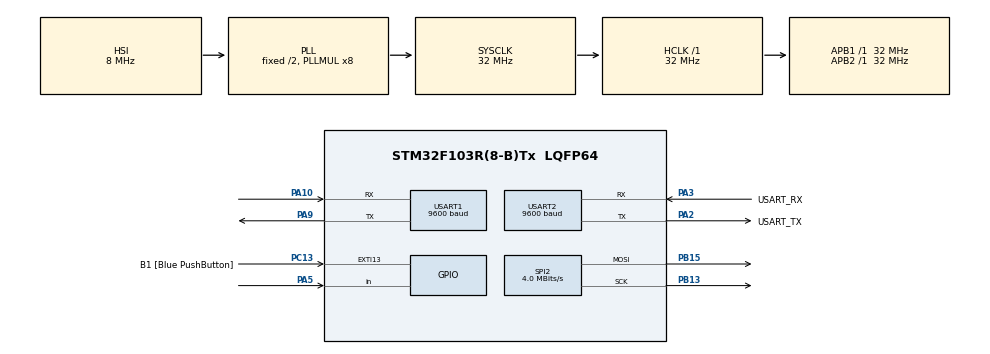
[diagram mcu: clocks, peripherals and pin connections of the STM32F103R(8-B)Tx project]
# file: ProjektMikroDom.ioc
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Dma.Request0=USART1_RX
Dma.Request1=USART1_TX
Dma.USART1_RX.0.Direction=DMA_PERIPH_TO_MEMORY
Dma.USART1_RX.0.Instance=DMA1_Channel5
Dma.USART1_RX.0.MemDataAlignment=DMA_MDATAALIGN_BYTE
Dma.USART1_RX.0.MemInc=DMA_MINC_ENABLE
Dma.USART1_RX.0.Mode=DMA_NORMAL
Dma.USART1_RX.0.PeriphDataAlignment=DMA_PDATAALIGN_BYTE
Dma.USART1_RX.0.PeriphInc=DMA_PINC_DISABLE
Dma.USART1_RX.0.Priority=DMA_PRIORITY_LOW
Dma.USART1_TX.1.Direction=DMA_MEMORY_TO_PERIPH
Dma.USART1_TX.1.Instance=DMA1_Channel4
Dma.USART1_TX.1.MemDataAlignment=DMA_MDATAALIGN_BYTE
Dma.USART1_TX.1.MemInc=DMA_MINC_ENABLE
Dma.USART1_TX.1.Mode=DMA_NORMAL
Dma.USART1_TX.1.PeriphDataAlignment=DMA_PDATAALIGN_BYTE
Dma.USART1_TX.1.PeriphInc=DMA_PINC_DISABLE
Dma.USART1_TX.1.Priority=DMA_PRIORITY_LOW
Mcu.Family=STM32F1
Mcu.Name=STM32F103R(8-B)Tx
Mcu.Package=LQFP64
NVIC.DMA1_Channel4_IRQn=true\:0\:0\:false\:false\:true\:false
NVIC.DMA1_Channel5_IRQn=true\:0\:0\:false\:false\:true\:false
NVIC.EXTI15_10_IRQn=true\:0\:0\:false\:false\:true\:true
NVIC.PriorityGroup=NVIC_PRIORITYGROUP_4
NVIC.TIM4_IRQn=true\:0\:0\:false\:false\:true\:true
NVIC.USART1_IRQn=true\:0\:0\:false\:false\:true\:true
NVIC.USART2_IRQn=true\:0\:0\:false\:false\:true\:true
PA10.Mode=Asynchronous
PA10.Signal=USART1_RX
PA13.GPIO_Label=TMS
PA13.Mode=Serial_Wire
PA13.Signal=SYS_JTMS-SWDIO
PA14.GPIO_Label=TCK
PA14.Mode=Serial_Wire
PA14.Signal=SYS_JTCK-SWCLK
PA2.GPIO_Label=USART_TX
PA2.GPIO_Mode=GPIO_MODE_AF_PP
PA2.GPIO_PuPd=GPIO_NOPULL
PA2.GPIO_Speed=GPIO_SPEED_FREQ_LOW
PA2.Mode=Asynchronous
PA2.Signal=USART2_TX
PA3.GPIO_Label=USART_RX
PA3.GPIO_Mode=GPIO_MODE_AF_PP
PA3.GPIO_PuPd=GPIO_NOPULL
PA3.GPIO_Speed=GPIO_SPEED_FREQ_LOW
PA3.Mode=Asynchronous
PA3.Signal=USART2_RX
PA5.Signal=GPIO_Input
PA9.Mode=Asynchronous
PA9.Signal=USART1_TX
PB13.Mode=TX_Only_Simplex_Unidirect_Master
PB13.Signal=SPI2_SCK
PB15.Mode=TX_Only_Simplex_Unidirect_Master
PB15.Signal=SPI2_MOSI
PB3.GPIO_Label=SWO
PB3.Signal=SYS_JTDO-TRACESWO
PC13-TAMPER-RTC.GPIO_Label=B1 [Blue PushButton]
PC13-TAMPER-RTC.GPIO_PuPd=GPIO_NOPULL
PC13-TAMPER-RTC.Signal=GPXTI13
PC14-OSC32_IN.Mode=LSE-External-Oscillator
PC14-OSC32_IN.Signal=RCC_OSC32_IN
PC15-OSC32_OUT.Mode=LSE-External-Oscillator
PC15-OSC32_OUT.Signal=RCC_OSC32_OUT
PD0-OSC_IN.Mode=HSE-External-Clock-Source
PD0-OSC_IN.Signal=RCC_OSC_IN
PD1-OSC_OUT.Mode=HSE-External-Clock-Source
PD1-OSC_OUT.Signal=RCC_OSC_OUT
ProjectManager.HeapSize=0x200
ProjectManager.StackSize=0x400
ProjectManager.TargetToolchain=SW4STM32
RCC.AHBFreq_Value=32000000
RCC.APB1Freq_Value=32000000
RCC.APB1TimFreq_Value=32000000
RCC.APB2Freq_Value=32000000
RCC.APB2TimFreq_Value=32000000
RCC.HCLKFreq_Value=32000000
RCC.PLLMUL=RCC_PLL_MUL8
RCC.RTCClockSelection=RCC_RTCCLKSOURCE_LSE
RCC.SYSCLKFreq_VALUE=32000000
RCC.SYSCLKSource=RCC_SYSCLKSOURCE_PLLCLK
RCC.USBFreq_Value=32000000
SPI2.BaudRatePrescaler=SPI_BAUDRATEPRESCALER_8
SPI2.CalculateBaudRate=4.0 MBits/s
SPI2.DataSize=SPI_DATASIZE_16BIT
SPI2.Direction=SPI_DIRECTION_2LINES
SPI2.Mode=SPI_MODE_MASTER
SPI2.VirtualType=VM_MASTER
TIM4.AutoReloadPreload=TIM_AUTORELOAD_PRELOAD_DISABLE
TIM4.Period=103
TIM4.Prescaler=31
USART1.BaudRate=9600
USART1.VirtualMode=VM_ASYNC
USART2.BaudRate=9600
USART2.VirtualMode=VM_ASYNC
VP_TIM4_VS_ClockSourceINT.Mode=Internal
board=NUCLEO-F103RB

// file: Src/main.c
/**
  ******************************************************************************
  * @file           : main.c
  * @brief          : Main program body
  ******************************************************************************
  ** This notice applies to any and all portions of this file
  * that are not between comment pairs USER CODE BEGIN and
  * USER CODE END. Other portions of this file, whether
  * inserted by the user or by software development tools
  * are owned by their respective copyright owners.
  *
  * COPYRIGHT(c) 2019 STMicroelectronics
  *
  * Redistribution and use in source and binary forms, with or without modification,
  * are permitted provided that the following conditions are met:
  *   1. Redistributions of source code must retain the above copyright notice,
  *      this list of conditions and the following disclaimer.
  *   2. Redistributions in binary form must reproduce the above copyright notice,
  *      this list of conditions and the following disclaimer in the documentation
  *      and/or other materials provided with the distribution.
  *   3. Neither the name of STMicroelectronics nor the names of its contributors
  *      may be used to endorse or promote products derived from this software
  *      without specific prior written permission.
  *
  * THIS SOFTWARE IS PROVIDED BY THE COPYRIGHT HOLDERS AND CONTRIBUTORS "AS IS"
  * AND ANY EXPRESS OR IMPLIED WARRANTIES, INCLUDING, BUT NOT LIMITED TO, THE
  * IMPLIED WARRANTIES OF MERCHANTABILITY AND FITNESS FOR A PARTICULAR PURPOSE ARE
  * DISCLAIMED. IN NO EVENT SHALL THE COPYRIGHT HOLDER OR CONTRIBUTORS BE LIABLE
  * FOR ANY DIRECT, INDIRECT, INCIDENTAL, SPECIAL, EXEMPLARY, OR CONSEQUENTIAL
  * DAMAGES (INCLUDING, BUT NOT LIMITED TO, PROCUREMENT OF SUBSTITUTE GOODS OR
  * SERVICES; LOSS OF USE, DATA, OR PROFITS; OR BUSINESS INTERRUPTION) HOWEVER
  * CAUSED AND ON ANY THEORY OF LIABILITY, WHETHER IN CONTRACT, STRICT LIABILITY,
  * OR TORT (INCLUDING NEGLIGENCE OR OTHERWISE) ARISING IN ANY WAY OUT OF THE USE
  * OF THIS SOFTWARE, EVEN IF ADVISED OF THE POSSIBILITY OF SUCH DAMAGE.
  *
  ******************************************************************************
  */
#include "main.h"
#include "stm32f1xx_hal.h"

/* USER CODE BEGIN Includes */
#include 								"string.h"
#include 								"stdarg.h"
#include 								"ws2812b.h"
#include 								"stdlib.h"
#include 								"ds18b20uart.h"
#define BUFF_SIZE 						256
#define MAX_PARAMETERS					5
#define COMMAND_SIZE					128
#define END             				0x2F			//Znak poczatku/konca ramki
#define ESC             				0x3C
#define ESC_END							0x3D
#define ESC_ESC							0x3E
#define WAIT_START						0
#define ESCAPE							1
#define AFTER_ESCAPE					3
#define MESSAGE							4
#define FRAME_RECEIVED					5
#define FLASH_TEMPERATURE_START			0x08018000
#define FLASH_START						0x08000000
/* USER CODE END Includes */

SPI_HandleTypeDef hspi2;

TIM_HandleTypeDef htim4;

UART_HandleTypeDef huart1;
UART_HandleTypeDef huart2;
DMA_HandleTypeDef hdma_usart1_rx;
DMA_HandleTypeDef hdma_usart1_tx;

/* USER CODE BEGIN PV */
char Buff_Rx[BUFF_SIZE];
char Buff_Tx[BUFF_SIZE];

volatile uint8_t Busy_Tx = 0;
volatile uint8_t Empty_Tx = 0;
volatile uint8_t Busy_Rx = 0;
volatile uint8_t Empty_Rx = 0;

uint32_t parameters[MAX_PARAMETERS];
uint8_t all_parameters = 1;
char command[COMMAND_SIZE];
uint8_t bajty_idle = 0;
uint8_t frame_state = WAIT_START;
int idx;

uint8_t crc_frame;
uint8_t frame_length;

extern uint32_t ds18b20_fix;
extern uint32_t ds18b20_fix_enable;
extern uint32_t ds18b20_fix_count;
extern uint8_t ds18b20_state;
extern rgb led_color[16];
extern uint8_t blink[16];
extern uint32_t lighton[16];
extern uint32_t lightoff[16];
extern uint32_t blink_count[16];

uint32_t flash_temperature_write;
uint32_t flash_temperature_read;
uint32_t flash_temperature_lastwrited;
uint32_t flash_temperature_idx = 1;

uint8_t temperature_mode = 0;
uint8_t temperature_mode_before = 0;
uint8_t temperature_mode_now = 0;
uint16_t temperature_mode_counter = 0;
char get_temp_sign;

struct Colors off = { .red = 0, .green = 0, .blue = 0 };
struct Colors hot = { .red = 0, .green = 255, .blue = 0};
struct Colors cold = { .red = 0, .green = 0, .blue = 255};
struct Colors owncolor = { .red = 0, .green = 0, .blue = 0};

FLASH_EraseInitTypeDef EraseInitStruct;
uint32_t ErrorTemperatureFlash;

/* Private variables ---------------------------------------------------------*/

/* USER CODE END PV */

void SystemClock_Config(void);
static void MX_GPIO_Init(void);
static void MX_DMA_Init(void);
static void MX_USART2_UART_Init(void);
static void MX_TIM4_Init(void);
static void MX_SPI2_Init(void);
static void MX_USART1_UART_Init(void);

/* USER CODE BEGIN PFP */
/* Private function prototypes -----------------------------------------------*/

/* USER CODE END PFP */

/* USER CODE BEGIN 0 */
void USART_fsend(char* format, ...) {

	char tmp_rs[128];//zmiena tymczasowa tmp_rs
	int i;
	__IO int idx;// __IO = volatile, indeks naszej tablicy
	va_list valist; //tworzymy liste ze zmienna iloscia argumentu
	va_start(valist, format);//inicjalizuje valist, aby pobrać dodatkowe argumenty po parametrze
	vsprintf(tmp_rs, format, valist);//do zmiennej tmp_rs jest zapisywany sformatowany już ciąg znaków
	va_end(valist); // zakonczenie listy ze zmienna iloscia argumentow
	idx = Empty_Tx; //naszemu indeksowi przypisujemy wskaznik na puste miejsce w buforze nadawczym
	for (i = 0; i < strlen(tmp_rs); i++) {//wypelniamy bufor nadawczy znakami
		Buff_Tx[idx] = tmp_rs[i];
		idx++;
		if (idx >= BUFF_SIZE)//jezeli przekroczymy rozmiar to zerujemy index
			idx = 0;
	}
	__disable_irq(); //wylaczamy przerwania
	if ((Empty_Tx == Busy_Tx)//jezeli wskazniki na puste i zajete miejsce w buforze sa takie same
			&& (__HAL_UART_GET_FLAG(&huart2,UART_FLAG_TXE) == SET)) {//oraz UART nic nie nadaje
		//to rozpoczynamy wysylanie
		Empty_Tx = idx;//przypisujemy wskazniki pustego miejsca nasz indeks
		uint8_t tmp = Buff_Tx[Busy_Tx];//zmiennej tymczasowej przypisujemy element z bufora nadawczego
		Busy_Tx++;//zwiekszamy wskaznik miejsca zajetego w buforze
		if (Busy_Tx >= BUFF_SIZE)//jezeli przekroczymy zakres bufora to zerujemy wskaznik
			Busy_Tx = 0;
		HAL_UART_Transmit_IT(&huart2, &tmp, 1);//transmitujemy pierwszy bajt danych
		//po przeslaniu tego bajtu zostanie wywołane przerwanie z
		//callbacku

	} else {// w przeciwnym wypadku
		Empty_Tx = idx; //wskaznikowi pustego miejsca przypisujemy nasz indeks
	}
	__enable_irq(); // wlaczamy przerwania
}
void analyze_frame(char *jmd)//analiza odebranej ramki
{
	frame_length = strlen(jmd);
	if(frame_length > 0)
	{
		crc_frame = CRC8(jmd,frame_length-1);
		crc_frame=jmd[frame_length-1];
		if(jmd[1] == 'B')
		{
			if(jmd[frame_length-1] == crc_frame)
			{
				if(strncmp(jmd+2,"setled",6) == 0)
				{
					all_parameters = sscanf(jmd+2,"setled:%d:%d:%d:%d",&parameters[0],&parameters[1],&parameters[2],&parameters[3]);
					if(all_parameters == 4)
					{
						if((parameters[0] <= 15 && parameters[0] >= 0) || parameters[0] == -1)
						{
							if(parameters[1] >= 0 && parameters[1] <= 255)
							{
								if(parameters[2] >= 0 && parameters[2] <= 255)
								{
									if(parameters[3] >= 0 && parameters[3] <= 255)
									{
										DisableWS2812BThermometerMode();
										owncolor.red = parameters[1];
										owncolor.green = parameters[2];
										owncolor.blue = parameters[3];
										if(parameters[0] == -1) SetAllLEDColor_RGB(owncolor,1);
										else SetLEDColor_RGB(parameters[0],owncolor,1);
										WS2812B_Update();
										SendFrame("SETLED OK");
									}
									else SendFrame("SETLED PARAM 4 FAIL");
								}
								else SendFrame("SETLED PARAM 3 FAIL");
							}
							else SendFrame("SETLED PARAM 2 FAIL");
						}
						else SendFrame("SETLED PARAM 1 FAIL");
					}
					else SendFrame("SETLED PARAMS FAIL");
				}
				else if(strncmp(jmd+2,"readtempflash",13) == 0)
				{
					ReadTemperatureFromFlash();
				}
				else if(strncmp(jmd+2,"readtemp",8) == 0)
				{
					if(ds18b20_fix_enable != 0) ds18b20_fix_enable = 0;
					DisableWS2812BThermometerMode();
					SendFrame("READTEMP OK");
					ReadTemp();
				}
				else if(strncmp(jmd+2,"fixtempoff",10) == 0)
				{
					DisableWS2812BThermometerMode();
					SendFrame("FIXTEMPOFF OK");
					ds18b20_fix_enable = 0;
					ds18b20_state = 0;
				}
				else if(strncmp(jmd+2,"fixtemp",7) == 0)
				{
					all_parameters = sscanf(jmd+2,"fixtemp:%d",&parameters[0]);
					if(all_parameters == 1)
					{
						if(parameters[0] >= 1000)
						{
							DisableWS2812BThermometerMode();
							ds18b20_fix_enable = 1;
							ds18b20_fix_count = 0;
							ds18b20_fix = parameters[0];
							SendFrame("FIXTEMP OK");
						}
						else SendFrame("FIXTEMP PARAM 1 FAIL");
					}
					else SendFrame("FIXTEMP PARAMS FAIL");
				}
				else if(strncmp(jmd+2,"blinkoff",8) == 0)
				{
					all_parameters = sscanf(jmd+2,"blinkoff:%d",&parameters[0]);
					if(all_parameters == 1)
					{
						if((parameters[0] >= 0 && parameters[0] <= 15) || parameters[0] == -1)
						{
							DisableWS2812BThermometerMode();
							if(parameters[0] == -1)
							{
								for(uint16_t i = 0; i < NUMBER_OF_LEDS; i++)
								{
									blink[i] = 0;
									blink_count[i] = 0;
									lighton[i] = 0;
									lightoff[i] = 0;
									SetLEDColor_RGB(i,off,1);
								}
							}
							else
							{
								blink[parameters[0]] = 0;
								blink_count[parameters[0]] = 0;
								lighton[parameters[0]] = 0;
								lightoff[parameters[0]] = 0;
								SetLEDColor_RGB(parameters[0],off,1);
							}
							WS2812B_Update();
							SendFrame("BLINKOFF OK");
						}
						else SendFrame("BLINKOFF PARAM 1 FAIL");
					}
					else SendFrame("BLINKOFF PARAMS FAIL");
				}
				else if(strncmp(jmd+2,"blink",5) == 0)
				{
					all_parameters = sscanf(jmd+2,"blink:%d:%d:%d",&parameters[0],&parameters[1],&parameters[2]);
					if(all_parameters == 3)
					{
						if(parameters[0] <= 15 && parameters[0] >= 0)
						{
							if(parameters[1] >= 10)
							{
								if(parameters[2] >= 10)
								{
									DisableWS2812BThermometerMode();
									SendFrame("BLINK OK");
									blink[parameters[0]] = 1;
									blink_count[parameters[0]] = 0;
									lighton[parameters[0]] = parameters[1];
									lightoff[parameters[0]] = parameters[2];
								}
							}
							else SendFrame("BLINK PARAM 2 FAIL");
						}
						else SendFrame("BLINK PARAM 1 FAIL");
					}
					else SendFrame("BLINK PARAMS FAIL");
				}
				else if(strncmp(jmd+2,"tmodeoff",8) == 0)
				{
					DisableWS2812BThermometerMode();
					SendFrame("TMODEOFF OK");
				}
				else if(strncmp(jmd+2,"tmode",5) == 0)
				{
					temperature_mode = 1;
					temperature_mode_counter = 0;
					SendFrame("TMODE OK");
				}
				else SendFrame("WRONG COMMAND");
			}
			else
			{
				SendFrame("WRONG CHECKSUM");
			}
		}
		else
		{
			SendFrame("WRONG ADDRESS");
		}
	}
	else SendFrame("EMPTY FRAME");
}
char getchar_BuffRx()//pobieranie kolejnego znaku z bufora RX
{
	char tmp;
	if(Busy_Rx != Empty_Rx)
	{
		tmp = Buff_Rx[Busy_Rx];
		Busy_Rx++;
		if(Busy_Rx > BUFF_SIZE) Busy_Rx = 0;
		return tmp;
	}
	return -1;
}
void clear_data()
{
	for(int i = 0; i < COMMAND_SIZE; i++) command[i] = 0;
	idx = 0;
}
void search_frame()
{
	if(Busy_Rx != Empty_Rx)
	{
		static char c;
		c = getchar_BuffRx();
		__HAL_TIM_SET_COUNTER(&htim4,0);
		switch(frame_state)
		{
			case WAIT_START:
			{
				if(c == END)
				{
					clear_data();
					frame_state = MESSAGE;
				}
				break;
			}
			case MESSAGE:
			{
				if(c == END)
				{
					analyze_frame(command);
					clear_data();
					frame_state = MESSAGE;
				}
				else if(c == ESC) frame_state = AFTER_ESCAPE;
				else
				{
					command[idx] = c;
					idx++;
				}
				break;
			}
			case AFTER_ESCAPE:
			{
				if(c == ESC_END)
				{
					command[idx] = END;
					idx++;
				}
				else if(c == ESC_ESC)
				{
					command[idx] = ESC;
					idx++;
				}
				frame_state = MESSAGE;
				break;
			}
		}
	}
}
void AddCharToFrame(char *frame,uint8_t pos, char x)
{
	if(pos < COMMAND_SIZE)
	{
		frame[pos] = x;
	}
}
void SendFrame(char *format, ...)
{
	char data[COMMAND_SIZE];
	va_list valist;
	va_start(valist, format);
	vsprintf(data, format, valist);
	va_end(valist);
	char frame_to_send[COMMAND_SIZE] = {0};
	AddCharToFrame(frame_to_send,0,'B');
	AddCharToFrame(frame_to_send,1,'A');
	for(int i = 0; data[i] != '\0';i++)
	{
		switch(data[i])
		{
			case ESC:
			{
				AddCharToFrame(frame_to_send,i+2,ESC);
				AddCharToFrame(frame_to_send,i+3,ESC_ESC);
				break;
			}
			case END:
			{
				AddCharToFrame(frame_to_send,i+2,ESC);
				AddCharToFrame(frame_to_send,i+3,ESC_END);
				break;
			}
			default:
			{
				AddCharToFrame(frame_to_send,i+2,data[i]);
				break;
			}
		}
	}
	uint8_t crc_for_frame = CRC8(frame_to_send,strlen(frame_to_send));
	AddCharToFrame(frame_to_send,strlen(frame_to_send),crc_for_frame);
	USART_fsend("%s",frame_to_send);
}
uint8_t NumberPage(uint32_t adres)
{
	uint32_t numer = adres - 0x08000000;
	numer /= 1024;
	return numer;
}

void SearchHighestFlashIdx(uint32_t *max_idx, uint32_t *write_address)
{
	uint32_t current_address_idx;
	*max_idx = 0;
	*write_address = FLASH_TEMPERATURE_START-8;
	for(uint32_t address = FLASH_TEMPERATURE_START;address < 0x08020000; address += 8)
	{
		current_address_idx = *(__IO uint32_t *)address;

		if(current_address_idx != 0xFFFFFFFF && current_address_idx > *max_idx)
		{
				*max_idx = current_address_idx;
				*write_address = address;
		}
	}
	*max_idx += 1;
	*write_address += 8;
}
void WriteTemperatureToFlash(uint16_t calkowita, uint16_t ulamkowa)
{
	EraseInitStruct.TypeErase = FLASH_TYPEERASE_PAGES;
	EraseInitStruct.NbPages = 1;
	HAL_FLASH_Unlock();
	if(flash_temperature_write == 0x08020000) flash_temperature_write = FLASH_TEMPERATURE_START;
	if((flash_temperature_write - FLASH_START) % 1024 == 0)
	{
		uint8_t nbpage_write = NumberPage(flash_temperature_write);
		uint8_t nbpage_read = NumberPage(flash_temperature_read);
		if(nbpage_write == nbpage_read && flash_temperature_lastwrited < flash_temperature_read) flash_temperature_read = 0x08000000 + ((nbpage_read+1) * 1024);
		EraseInitStruct.PageAddress = flash_temperature_write;
		HAL_FLASHEx_Erase(&EraseInitStruct, &ErrorTemperatureFlash);
	}
	HAL_FLASH_Program(FLASH_TYPEPROGRAM_WORD,flash_temperature_write,flash_temperature_idx);
	flash_temperature_write += 4;
	HAL_FLASH_Program(FLASH_TYPEPROGRAM_HALFWORD,flash_temperature_write,calkowita);
	flash_temperature_write += 2;
	HAL_FLASH_Program(FLASH_TYPEPROGRAM_HALFWORD,flash_temperature_write,ulamkowa);
	flash_temperature_lastwrited = flash_temperature_write;
	flash_temperature_write += 2;
	HAL_FLASH_Lock();
	flash_temperature_idx++;
}
void ReadTemperatureFromFlash()
{
	if(flash_temperature_read != flash_temperature_write)
	{
		if(flash_temperature_read == 0x08020000) flash_temperature_read = FLASH_TEMPERATURE_START;
		flash_temperature_read += 4;
		uint16_t calkowita = *(__IO uint16_t *)flash_temperature_read;
		flash_temperature_read += 2;
		uint16_t ulamkowa = *(__IO uint16_t *)flash_temperature_read;
		flash_temperature_read += 2;
		get_temp_sign = calkowita & 0x80?'-':'+';
		calkowita = calkowita & 0x7F;
		SendFrame("TEMP %c%d.%d",get_temp_sign,calkowita,ulamkowa);
	}
	else
	{
		SendFrame("NO DATA");
	}
}

void WS2812BThermometerMode()
{
	if(temperature_mode == 2)
	{
		SetAllLEDColor_RGB(off,1);
		get_temp_sign = temperature_mode_now & 0x80?'-':'+';
		temperature_mode_now = temperature_mode_now & 0x7F;
		uint8_t x = 0;
		if(temperature_mode_now % 5 == 0) x = ((temperature_mode_now/5) - 1);
		else (x = temperature_mode_now/5);
		if(x > 7) x = 7;
		if(get_temp_sign == '+') for(int i = 0; i <= x;i++) SetLEDColor_RGB(i,hot,1);
		if(get_temp_sign == '-') for(int i = 15; i >= 15-x;i--) SetLEDColor_RGB(i,cold,1);
		WS2812B_Update();
		temperature_mode = 1;
	}
}
void DisableWS2812BThermometerMode()
{
	if(temperature_mode != 0)
	{
		temperature_mode = 0;
		temperature_mode_counter = 0;
		temperature_mode_before = 0;
		temperature_mode_now = 0;
		SetAllLEDColor_RGB(off,1);
		ds18b20_state = 0;
		WS2812B_Update();
	}
}
/* USER CODE END 0 */

int main(void)
{

  /* MCU Configuration----------------------------------------------------------*/

  /* Reset of all peripherals, Initializes the Flash interface and the Systick. */
  HAL_Init();

  /* Configure the system clock */
  SystemClock_Config();

  /* Initialize all configured peripherals */
  MX_GPIO_Init();
  MX_DMA_Init();
  MX_USART2_UART_Init();
  MX_TIM4_Init();
  MX_SPI2_Init();
  MX_USART1_UART_Init();

  /* Infinite loop */
  /* USER CODE BEGIN WHILE */
  WS2812B_Init();
  HAL_UART_Receive_IT(&huart2,(uint8_t *)&Buff_Rx[Empty_Rx],1);
  HAL_TIM_Base_Start_IT(&htim4);
  flash_temperature_read = FLASH_TEMPERATURE_START;
  SearchHighestFlashIdx(&flash_temperature_idx, &flash_temperature_write);
  flash_temperature_lastwrited = flash_temperature_write - 2;
  while (1)
  {
  /* USER CODE END WHILE */

  /* USER CODE BEGIN 3 */
	  search_frame();
	  ds18b20();
	  WS2812B_Blink();
	  WS2812BThermometerMode();
  }
  /* USER CODE END 3 */

}

void SystemClock_Config(void)
{

  RCC_OscInitTypeDef RCC_OscInitStruct;
  RCC_ClkInitTypeDef RCC_ClkInitStruct;

    /**Initializes the CPU, AHB and APB busses clocks
    */
  RCC_OscInitStruct.OscillatorType = RCC_OSCILLATORTYPE_HSI;
  RCC_OscInitStruct.HSIState = RCC_HSI_ON;
  RCC_OscInitStruct.HSICalibrationValue = 16;
  RCC_OscInitStruct.PLL.PLLState = RCC_PLL_ON;
  RCC_OscInitStruct.PLL.PLLSource = RCC_PLLSOURCE_HSI_DIV2;
  RCC_OscInitStruct.PLL.PLLMUL = RCC_PLL_MUL8;
  if (HAL_RCC_OscConfig(&RCC_OscInitStruct) != HAL_OK)
  {
    _Error_Handler(__FILE__, __LINE__);
  }

    /**Initializes the CPU, AHB and APB busses clocks
    */
  RCC_ClkInitStruct.ClockType = RCC_CLOCKTYPE_HCLK|RCC_CLOCKTYPE_SYSCLK
                              |RCC_CLOCKTYPE_PCLK1|RCC_CLOCKTYPE_PCLK2;
  RCC_ClkInitStruct.SYSCLKSource = RCC_SYSCLKSOURCE_PLLCLK;
  RCC_ClkInitStruct.AHBCLKDivider = RCC_SYSCLK_DIV1;
  RCC_ClkInitStruct.APB1CLKDivider = RCC_HCLK_DIV1;
  RCC_ClkInitStruct.APB2CLKDivider = RCC_HCLK_DIV1;

  if (HAL_RCC_ClockConfig(&RCC_ClkInitStruct, FLASH_LATENCY_1) != HAL_OK)
  {
    _Error_Handler(__FILE__, __LINE__);
  }

    /**Configure the Systick interrupt time
    */
  HAL_SYSTICK_Config(HAL_RCC_GetHCLKFreq()/1000);

    /**Configure the Systick
    */
  HAL_SYSTICK_CLKSourceConfig(SYSTICK_CLKSOURCE_HCLK);

  /* SysTick_IRQn interrupt configuration */
  HAL_NVIC_SetPriority(SysTick_IRQn, 0, 0);
}

/* SPI2 init function */
static void MX_SPI2_Init(void)
{

  /* SPI2 parameter configuration*/
  hspi2.Instance = SPI2;
  hspi2.Init.Mode = SPI_MODE_MASTER;
  hspi2.Init.Direction = SPI_DIRECTION_2LINES;
  hspi2.Init.DataSize = SPI_DATASIZE_16BIT;
  hspi2.Init.CLKPolarity = SPI_POLARITY_LOW;
  hspi2.Init.CLKPhase = SPI_PHASE_1EDGE;
  hspi2.Init.NSS = SPI_NSS_SOFT;
  hspi2.Init.BaudRatePrescaler = SPI_BAUDRATEPRESCALER_8;
  hspi2.Init.FirstBit = SPI_FIRSTBIT_MSB;
  hspi2.Init.TIMode = SPI_TIMODE_DISABLE;
  hspi2.Init.CRCCalculation = SPI_CRCCALCULATION_DISABLE;
  hspi2.Init.CRCPolynomial = 10;
  if (HAL_SPI_Init(&hspi2) != HAL_OK)
  {
    _Error_Handler(__FILE__, __LINE__);
  }

}

/* TIM4 init function */
static void MX_TIM4_Init(void)
{

  TIM_ClockConfigTypeDef sClockSourceConfig;
  TIM_MasterConfigTypeDef sMasterConfig;

  htim4.Instance = TIM4;
  htim4.Init.Prescaler = 31;
  htim4.Init.CounterMode = TIM_COUNTERMODE_UP;
  htim4.Init.Period = 103;
  htim4.Init.ClockDivision = TIM_CLOCKDIVISION_DIV1;
  htim4.Init.AutoReloadPreload = TIM_AUTORELOAD_PRELOAD_DISABLE;
  if (HAL_TIM_Base_Init(&htim4) != HAL_OK)
  {
    _Error_Handler(__FILE__, __LINE__);
  }

  sClockSourceConfig.ClockSource = TIM_CLOCKSOURCE_INTERNAL;
  if (HAL_TIM_ConfigClockSource(&htim4, &sClockSourceConfig) != HAL_OK)
  {
    _Error_Handler(__FILE__, __LINE__);
  }

  sMasterConfig.MasterOutputTrigger = TIM_TRGO_RESET;
  sMasterConfig.MasterSlaveMode = TIM_MASTERSLAVEMODE_DISABLE;
  if (HAL_TIMEx_MasterConfigSynchronization(&htim4, &sMasterConfig) != HAL_OK)
  {
    _Error_Handler(__FILE__, __LINE__);
  }

}

/* USART1 init function */
static void MX_USART1_UART_Init(void)
{

  huart1.Instance = USART1;
  huart1.Init.BaudRate = 9600;
  huart1.Init.WordLength = UART_WORDLENGTH_8B;
  huart1.Init.StopBits = UART_STOPBITS_1;
  huart1.Init.Parity = UART_PARITY_NONE;
  huart1.Init.Mode = UART_MODE_TX_RX;
  huart1.Init.HwFlowCtl = UART_HWCONTROL_NONE;
  huart1.Init.OverSampling = UART_OVERSAMPLING_16;
  if (HAL_UART_Init(&huart1) != HAL_OK)
  {
    _Error_Handler(__FILE__, __LINE__);
  }

}

/* USART2 init function */
static void MX_USART2_UART_Init(void)
{

  huart2.Instance = USART2;
  huart2.Init.BaudRate = 9600;
  huart2.Init.WordLength = UART_WORDLENGTH_8B;
  huart2.Init.StopBits = UART_STOPBITS_1;
  huart2.Init.Parity = UART_PARITY_NONE;
  huart2.Init.Mode = UART_MODE_TX_RX;
  huart2.Init.HwFlowCtl = UART_HWCONTROL_NONE;
  huart2.Init.OverSampling = UART_OVERSAMPLING_16;
  if (HAL_UART_Init(&huart2) != HAL_OK)
  {
    _Error_Handler(__FILE__, __LINE__);
  }

}

static void MX_DMA_Init(void)
{
  /* DMA controller clock enable */
  __HAL_RCC_DMA1_CLK_ENABLE();

  /* DMA interrupt init */
  /* DMA1_Channel4_IRQn interrupt configuration */
  HAL_NVIC_SetPriority(DMA1_Channel4_IRQn, 0, 0);
  HAL_NVIC_EnableIRQ(DMA1_Channel4_IRQn);
  /* DMA1_Channel5_IRQn interrupt configuration */
  HAL_NVIC_SetPriority(DMA1_Channel5_IRQn, 0, 0);
  HAL_NVIC_EnableIRQ(DMA1_Channel5_IRQn);

}

/** Configure pins as
        * Analog
        * Input
        * Output
        * EVENT_OUT
        * EXTI
*/
static void MX_GPIO_Init(void)
{

  GPIO_InitTypeDef GPIO_InitStruct;

  /* GPIO Ports Clock Enable */
  __HAL_RCC_GPIOC_CLK_ENABLE();
  __HAL_RCC_GPIOD_CLK_ENABLE();
  __HAL_RCC_GPIOA_CLK_ENABLE();
  __HAL_RCC_GPIOB_CLK_ENABLE();

  /*Configure GPIO pin : B1_Pin */
  GPIO_InitStruct.Pin = B1_Pin;
  GPIO_InitStruct.Mode = GPIO_MODE_IT_RISING;
  GPIO_InitStruct.Pull = GPIO_NOPULL;
  HAL_GPIO_Init(B1_GPIO_Port, &GPIO_InitStruct);

  /*Configure GPIO pin : PA5 */
  GPIO_InitStruct.Pin = GPIO_PIN_5;
  GPIO_InitStruct.Mode = GPIO_MODE_INPUT;
  GPIO_InitStruct.Pull = GPIO_NOPULL;
  HAL_GPIO_Init(GPIOA, &GPIO_InitStruct);

  /* EXTI interrupt init*/
  HAL_NVIC_SetPriority(EXTI15_10_IRQn, 0, 0);
  HAL_NVIC_EnableIRQ(EXTI15_10_IRQn);

}

/* USER CODE BEGIN 4 */
void HAL_UART_RxCpltCallback(UART_HandleTypeDef *huart){
	if(huart == &huart2)
	{
		Empty_Rx++;
		if (Empty_Rx >= BUFF_SIZE)
					Empty_Rx = 0;
		HAL_UART_Receive_IT(&huart2,(uint8_t *)&Buff_Rx[Empty_Rx],1);
	}
	if(huart == &huart1)
	{
		ReadTempStateRx();
	}
}

void HAL_UART_TxCpltCallback(UART_HandleTypeDef *huart){
	if(huart == &huart2)
	{
		if(Empty_Tx != Busy_Tx){
			uint8_t tmp = Buff_Tx[Busy_Tx];
			Busy_Tx++;
			if (Busy_Tx >= BUFF_SIZE)
						Busy_Tx = 0;
			HAL_UART_Transmit_IT(&huart2,&tmp,1);
		}
	}
}
uint8_t xx;
void HAL_TIM_PeriodElapsedCallback(TIM_HandleTypeDef *htim)
{
	if(htim == &htim4)
	{
		if(__HAL_UART_GET_FLAG(&huart2,UART_FLAG_IDLE) == SET && frame_state == MESSAGE)
		{
			bajty_idle++;
			if(bajty_idle >= 3)
			{
				bajty_idle = 0;
				frame_state = WAIT_START;
			}
		}
	}

}
/* USER CODE END 4 */

void _Error_Handler(char *file, int line)
{
  while(1)
  {
  }
}

/************************ (C) COPYRIGHT STMicroelectronics *****END OF FILE****/
